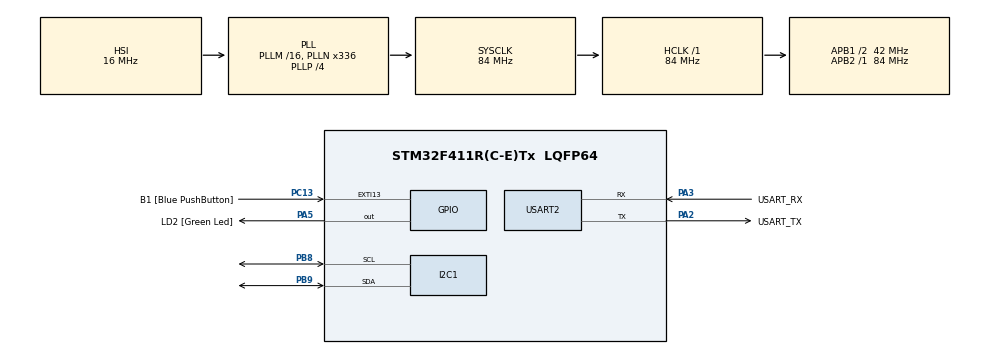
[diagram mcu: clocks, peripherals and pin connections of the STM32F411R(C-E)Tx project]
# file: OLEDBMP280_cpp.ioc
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Mcu.Family=STM32F4
PC15-OSC32_OUT.Mode=LSE-External-Oscillator
Dma.I2C1_TX.0.Instance=DMA1_Stream1
RCC.CortexFreq_Value=84000000
NVIC.I2C1_EV_IRQn=true\:0\:0\:false\:true\:true\:2\:true\:true
Dma.I2C1_TX.0.PeriphDataAlignment=DMA_PDATAALIGN_BYTE
PC13-ANTI_TAMP.GPIO_Label=B1 [Blue PushButton]
Dma.I2C1_TX.0.Direction=DMA_MEMORY_TO_PERIPH
PA14.GPIO_Label=TCK
PH1\ -\ OSC_OUT.Mode=HSE-External-Clock-Source
NVIC.DMA1_Stream1_IRQn=true\:0\:0\:false\:true\:true\:1\:false\:true
RCC.APB1CLKDivider=RCC_HCLK_DIV2
PC14-OSC32_IN.Signal=RCC_OSC32_IN
RCC.SYSCLKSource=RCC_SYSCLKSOURCE_PLLCLK
ProjectManager.StackSize=0x400
PA3.Mode=Asynchronous
PA13.Signal=SYS_JTMS-SWDIO
PH0\ -\ OSC_IN.Mode=HSE-External-Clock-Source
PH0\ -\ OSC_IN.Signal=RCC_OSC_IN
ProjectManager.TargetToolchain=STM32CubeIDE
I2C1.I2C_Mode=I2C_Fast
RCC.HCLKFreq_Value=84000000
PB9.Mode=I2C
RCC.APB2TimFreq_Value=84000000
Dma.I2C1_TX.0.Priority=DMA_PRIORITY_LOW
PC15-OSC32_OUT.Signal=RCC_OSC32_OUT
RCC.AHBFreq_Value=84000000
PA5.Signal=GPIO_Output
RCC.HSE_VALUE=8000000
PH1\ -\ OSC_OUT.Signal=RCC_OSC_OUT
board=NUCLEO-F411RE
PC13-ANTI_TAMP.Signal=GPXTI13
RCC.VCOOutputFreq_Value=336000000
RCC.APB2Freq_Value=84000000
PC14-OSC32_IN.Mode=LSE-External-Oscillator
PA14.Mode=Serial_Wire
Dma.I2C1_TX.0.MemInc=DMA_MINC_ENABLE
PA13.Mode=Serial_Wire
Mcu.Name=STM32F411R(C-E)Tx
PA2.Signal=USART2_TX
PA13.GPIO_Label=TMS
RCC.FLatency-AdvancedSettings=FLASH_LATENCY_2
RCC.48MHZClocksFreq_Value=84000000
PB3.Signal=SYS_JTDO-SWO
RCC.SYSCLKFreq_VALUE=84000000
Dma.I2C1_TX.0.PeriphInc=DMA_PINC_DISABLE
Mcu.Package=LQFP64
PB9.Signal=I2C1_SDA
PA5.GPIO_Label=LD2 [Green Led]
USART2.VirtualMode=VM_ASYNC
PC13-ANTI_TAMP.GPIO_ModeDefaultEXTI=GPIO_MODE_IT_FALLING
PA2.GPIO_Label=USART_TX
PA14.Signal=SYS_JTCK-SWCLK
ProjectManager.HeapSize=0x200
Dma.I2C1_TX.0.MemDataAlignment=DMA_MDATAALIGN_BYTE
RCC.HSI_VALUE=16000000
RCC.PLLP=RCC_PLLP_DIV4
NVIC.PriorityGroup=NVIC_PRIORITYGROUP_0
Dma.I2C1_TX.0.FIFOMode=DMA_FIFOMODE_DISABLE
PB8.Mode=I2C
RCC.PLLN=336
RCC.APB1TimFreq_Value=84000000
PA2.Mode=Asynchronous
PB8.Signal=I2C1_SCL
Dma.I2C1_TX.0.Mode=DMA_NORMAL
Dma.Request0=I2C1_TX
RCC.APB1Freq_Value=42000000
PA3.GPIO_Label=USART_RX
PA3.Signal=USART2_RX
PB3.GPIO_Label=SWO

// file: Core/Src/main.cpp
/* USER CODE BEGIN Header */
/**
  ******************************************************************************
  * @file           : main.c
  * @brief          : Main program body
  ******************************************************************************
  * @attention
  *
  * <h2><center>&copy; Copyright (c) 2021 STMicroelectronics.
  * All rights reserved.</center></h2>
  *
  * This software component is licensed by ST under BSD 3-Clause license,
  * the "License"; You may not use this file except in compliance with the
  * License. You may obtain a copy of the License at:
  *                        opensource.org/licenses/BSD-3-Clause
  *
  ******************************************************************************
  */
/* USER CODE END Header */
#include "main.h"
#include "dma.h"
#include "i2c.h"
#include "usart.h"
#include "gpio.h"

/* USER CODE BEGIN Includes */
#include "BMP280.hpp"
#include "GFX_BW.hpp"
#include "I2C_HandleInterface.hpp"
#include "I2C_Handler.hpp"
#include "OLED_SSD1306.hpp"
/* USER CODE END Includes */

/* USER CODE BEGIN PV */
float temperature;
float pressure;
char message[32];
/* USER CODE END PV */

void SystemClock_Config(void);
static void MX_NVIC_Init(void);

int main(void)
{

  /* MCU Configuration--------------------------------------------------------*/

  /* Reset of all peripherals, Initializes the Flash interface and the Systick. */
  HAL_Init();

  /* Configure the system clock */
  SystemClock_Config();

  /* Initialize all configured peripherals */
  MX_GPIO_Init();
  MX_DMA_Init();
  MX_USART2_UART_Init();
  MX_I2C1_Init();

  /* Initialize interrupts */
  MX_NVIC_Init();
  /* USER CODE BEGIN 2 */
  I2C_Handler i2c1Handler{&hi2c1};
  OLED_SSD1306 oled{&i2c1Handler};
  BMP280 bmp280{&i2c1Handler, 0x76};

  oled.clear(PixelColor::BLACK);
  oled.display();

  uint32_t bmp280Timer = HAL_GetTick();
  uint32_t oledTimer = HAL_GetTick();
  /* USER CODE END 2 */

  /* Infinite loop */
  /* USER CODE BEGIN WHILE */
  while (1)
  {
	  if (HAL_GetTick() - bmp280Timer > 10) {
		  bmp280Timer = HAL_GetTick();

		  auto m = bmp280.readPressureAndTemperature();
		  temperature = m.first;
		  pressure = m.second;
	  }

	  if (HAL_GetTick() - oledTimer > 200){
		  oledTimer = HAL_GetTick();

		  oled.clear(PixelColor::BLACK);
		  sprintf(message, "Press: %.2f hPa", pressure);
		  gfx::drawString(oled, 0, 10, message, PixelColor::WHITE);
		  sprintf(message, "Temp: %.2f C", temperature);
		  gfx::drawString(oled, 0, 20, message, PixelColor::WHITE);
		  oled.display();
	  }
    /* USER CODE END WHILE */

  }
}

void SystemClock_Config(void)
{
  RCC_OscInitTypeDef RCC_OscInitStruct = {0};
  RCC_ClkInitTypeDef RCC_ClkInitStruct = {0};

  /** Configure the main internal regulator output voltage
  */
  __HAL_RCC_PWR_CLK_ENABLE();
  __HAL_PWR_VOLTAGESCALING_CONFIG(PWR_REGULATOR_VOLTAGE_SCALE1);
  /** Initializes the RCC Oscillators according to the specified parameters
  * in the RCC_OscInitTypeDef structure.
  */
  RCC_OscInitStruct.OscillatorType = RCC_OSCILLATORTYPE_HSI;
  RCC_OscInitStruct.HSIState = RCC_HSI_ON;
  RCC_OscInitStruct.HSICalibrationValue = RCC_HSICALIBRATION_DEFAULT;
  RCC_OscInitStruct.PLL.PLLState = RCC_PLL_ON;
  RCC_OscInitStruct.PLL.PLLSource = RCC_PLLSOURCE_HSI;
  RCC_OscInitStruct.PLL.PLLM = 16;
  RCC_OscInitStruct.PLL.PLLN = 336;
  RCC_OscInitStruct.PLL.PLLP = RCC_PLLP_DIV4;
  RCC_OscInitStruct.PLL.PLLQ = 4;
  if (HAL_RCC_OscConfig(&RCC_OscInitStruct) != HAL_OK)
  {
    Error_Handler();
  }
  /** Initializes the CPU, AHB and APB buses clocks
  */
  RCC_ClkInitStruct.ClockType = RCC_CLOCKTYPE_HCLK|RCC_CLOCKTYPE_SYSCLK
                              |RCC_CLOCKTYPE_PCLK1|RCC_CLOCKTYPE_PCLK2;
  RCC_ClkInitStruct.SYSCLKSource = RCC_SYSCLKSOURCE_PLLCLK;
  RCC_ClkInitStruct.AHBCLKDivider = RCC_SYSCLK_DIV1;
  RCC_ClkInitStruct.APB1CLKDivider = RCC_HCLK_DIV2;
  RCC_ClkInitStruct.APB2CLKDivider = RCC_HCLK_DIV1;

  if (HAL_RCC_ClockConfig(&RCC_ClkInitStruct, FLASH_LATENCY_2) != HAL_OK)
  {
    Error_Handler();
  }
}

/**
  * @brief NVIC Configuration.
  * @retval None
  */
static void MX_NVIC_Init(void)
{
  /* DMA1_Stream1_IRQn interrupt configuration */
  HAL_NVIC_SetPriority(DMA1_Stream1_IRQn, 0, 0);
  HAL_NVIC_EnableIRQ(DMA1_Stream1_IRQn);
  /* I2C1_EV_IRQn interrupt configuration */
  HAL_NVIC_SetPriority(I2C1_EV_IRQn, 0, 0);
  HAL_NVIC_EnableIRQ(I2C1_EV_IRQn);
}

void Error_Handler(void)
{
  __disable_irq();
  while (1)
  {
  }
}

/************************ (C) COPYRIGHT STMicroelectronics *****END OF FILE****/
